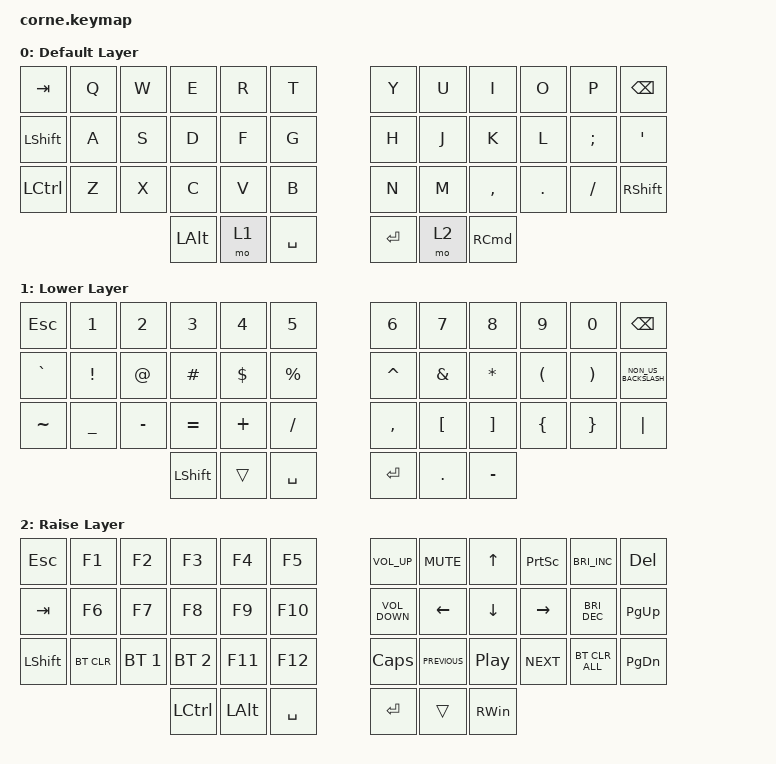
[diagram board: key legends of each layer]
/*
 * Copyright (c) 2020 The ZMK Contributors
 *
 * SPDX-License-Identifier: MIT
 */

#include <behaviors.dtsi>
#include <dt-bindings/zmk/bt.h>
#include <dt-bindings/zmk/keys.h>

/ {
    keymap {
        compatible = "zmk,keymap";

        default_layer {
            display-name = "Default Layer";

            // -----------------------------------------------------------------------------------------
            // |  TAB |  Q  |  W  |  E  |  R  |  T  |   |  Y  |  U   |  I  |  O  |  P  | BSPC |
            // | CTRL |  A  |  S  |  D  |  F  |  G  |   |  H  |  J   |  K  |  L  |  ;  |  '   |
            // | SHFT |  Z  |  X  |  C  |  V  |  B  |   |  N  |  M   |  ,  |  .  |  /  | ESC  |
            //                    | GUI | LWR | SPC |   | ENT | RSE  | ALT |

            bindings = <
&kp TAB         &kp Q  &kp W  &kp E         &kp R  &kp T        &kp Y    &kp U  &kp I              &kp O    &kp P     &kp BSPC
&kp LEFT_SHIFT  &kp A  &kp S  &kp D         &kp F  &kp G        &kp H    &kp J  &kp K              &kp L    &kp SEMI  &kp SQT
&kp LCTRL       &kp Z  &kp X  &kp C         &kp V  &kp B        &kp N    &kp M  &kp COMMA          &kp DOT  &kp FSLH  &kp RIGHT_SHIFT
                              &kp LEFT_ALT  &mo 1  &kp SPACE    &kp RET  &mo 2  &kp RIGHT_COMMAND
            >;
        };

        lower_layer {
            display-name = "Lower Layer";

            // -----------------------------------------------------------------------------------------
            // |  TAB |  1  |  2  |  3  |  4  |  5  |   |  6  |  7  |  8  |  9  |  0  | BSPC |
            // | BTCLR| BT1 | BT2 | BT3 | BT4 | BT5 |   | LFT | DWN |  UP | RGT |     |      |
            // | SHFT |     |     |     |     |     |   |     |     |     |     |     |      |
            //                    | GUI |     | SPC |   | ENT |     | ALT |

            bindings = <
&kp ESCAPE  &kp N1           &kp N2       &kp N3          &kp N4      &kp N5         &kp N6     &kp N7            &kp N8             &kp N9                &kp N0                 &kp BACKSPACE
&kp GRAVE   &kp EXCLAMATION  &kp AT_SIGN  &kp HASH        &kp DOLLAR  &kp PERCENT    &kp CARET  &kp AMPERSAND     &kp ASTERISK       &kp LEFT_PARENTHESIS  &kp RIGHT_PARENTHESIS  &kp NON_US_BACKSLASH
&kp TILDE   &kp UNDERSCORE   &kp MINUS    &kp EQUAL       &kp PLUS    &kp SLASH      &kp COMMA  &kp LEFT_BRACKET  &kp RIGHT_BRACKET  &kp LEFT_BRACE        &kp RIGHT_BRACE        &kp PIPE
                                          &kp LEFT_SHIFT  &trans      &kp SPACE      &kp RET    &kp PERIOD        &kp MINUS
            >;
        };

        raise_layer {
            display-name = "Raise Layer";

            // -----------------------------------------------------------------------------------------
            // |  TAB |  !  |  @  |  #  |  $  |  %  |   |  ^  |  &  |  *  |  (  |  )  | BSPC |
            // | CTRL |     |     |     |     |     |   |  -  |  =  |  [  |  ]  |  \  |  `   |
            // | SHFT |     |     |     |     |     |   |  _  |  +  |  {  |  }  | "|" |  ~   |
            //                    | GUI |     | SPC |   | ENT |     | ALT |

            bindings = <
&kp ESC    &kp F1      &kp F2        &kp F3            &kp F4        &kp F5       &kp C_VOL_UP       &kp C_MUTE      &kp UP_ARROW      &kp PRINTSCREEN  &kp C_BRIGHTNESS_INC  &kp DEL
&kp TAB    &kp F6      &kp F7        &kp F8            &kp F9        &kp F10      &kp C_VOLUME_DOWN  &kp LEFT        &kp DOWN          &kp RIGHT        &kp C_BRIGHTNESS_DEC  &kp PAGE_UP
&kp LSHFT  &bt BT_CLR  &bt BT_SEL 1  &bt BT_SEL 2      &kp F11       &kp F12      &kp CAPSLOCK       &kp C_PREVIOUS  &kp C_PLAY_PAUSE  &kp C_NEXT       &bt BT_CLR_ALL        &kp PAGE_DOWN
                                     &kp LEFT_CONTROL  &kp LEFT_ALT  &kp SPACE    &kp RET            &trans          &kp RIGHT_WIN
            >;
        };
    };
};
